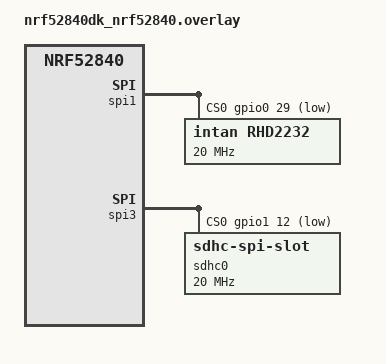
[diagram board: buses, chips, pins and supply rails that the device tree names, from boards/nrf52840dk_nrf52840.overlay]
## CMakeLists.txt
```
cmake_minimum_required(VERSION 3.20.0)

find_package(Zephyr REQUIRED HINTS $ENV{ZEPHYR_BASE})
project(NONE)

# CMakeLists.txt
include_directories(${CMAKE_SOURCE_DIR}/inc)

# NORDIC SDK APP START
target_sources(app PRIVATE
  src/main.c
  src/neuralbs.c
  src/fakedata_module.c
  src/fifo_buffer.c
  src/sd_card.c
  src/intan.c
  src/ble_module.c
)

# NORDIC SDK APP END
zephyr_library_include_directories(.)
```

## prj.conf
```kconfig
#
# Copyright (c) 2018 Nordic Semiconductor
#
# SPDX-License-Identifier: LicenseRef-Nordic-5-Clause
#

# Logger module
CONFIG_LOG=y

# Bluetooth LE
CONFIG_BT=y
CONFIG_BT_PERIPHERAL=y
CONFIG_BT_GATT_CLIENT=y
CONFIG_BT_DEVICE_NAME="Marmoset Bluetooth Logger"
CONFIG_BT_USER_PHY_UPDATE=y

# Increase stack size for the main thread and System Workqueue
CONFIG_SYSTEM_WORKQUEUE_STACK_SIZE=4096
CONFIG_MAIN_STACK_SIZE=8192

# Enable floating point unit for logging 
CONFIG_FPU=y

# Set the connection parameters
CONFIG_BT_CTLR_SDC_LLPM=y
CONFIG_BT_PERIPHERAL_PREF_MIN_INT=1
CONFIG_BT_PERIPHERAL_PREF_MAX_INT=1
CONFIG_BT_PERIPHERAL_PREF_LATENCY=0
CONFIG_BT_PERIPHERAL_PREF_TIMEOUT=400
CONFIG_BT_GAP_AUTO_UPDATE_CONN_PARAMS=y

CONFIG_BT_USER_DATA_LEN_UPDATE=y
CONFIG_BT_CTLR_DATA_LENGTH_MAX=251
CONFIG_BT_BUF_ACL_RX_SIZE=251
CONFIG_BT_BUF_ACL_TX_SIZE=251
CONFIG_BT_L2CAP_TX_MTU=247

CONFIG_GPIO=y
CONFIG_SPI=y
CONFIG_DISK_ACCESS=y
CONFIG_DISK_DRIVERS=y
CONFIG_DISK_DRIVER_MMC=y
CONFIG_DISK_DRIVER_SDMMC=y
CONFIG_MMC_STACK=y
CONFIG_FAT_FILESYSTEM_ELM=y
CONFIG_FILE_SYSTEM=y
CONFIG_FS_FATFS_EXFAT=y
CONFIG_SD_LOG_LEVEL_OFF=y
CONFIG_FS_FATFS_LFN=y

CONFIG_LOG_MAX_LEVEL=4
CONFIG_DISK_LOG_LEVEL_DBG=n
CONFIG_SDMMC_LOG_LEVEL_DBG=n
CONFIG_SPI_LOG_LEVEL_DBG=n
CONFIG_GPIO_LOG_LEVEL_DBG=n

CONFIG_SPI=y
CONFIG_SPI_NRFX=y
CONFIG_NRFX_SPIM1=y

# #CONFIG_FS_FATFS_LFN_MAX=512
# CONFIG_MPU_STACK_GUARD=y
# CONFIG_THREAD_STACK_INFO=y
# CONFIG_THREAD_MONITOR=y
```

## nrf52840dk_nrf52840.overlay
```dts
&qspi {
	status = "disabled";
};

&pwm0 {
    status = "disabled";
    label = "PWM-button";
};

&spi3 {
    status = "okay";
    cs-gpios = <&gpio0 12 GPIO_ACTIVE_LOW>;

    sdhc0: sdhc@0 {
        compatible = "zephyr,sdhc-spi-slot";
		status = "okay";
        reg = <0>;
        label = "SD_CARD";
        spi-max-frequency = <24000000>;
	};
};
```

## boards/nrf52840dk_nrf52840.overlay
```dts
&qspi {
    status = "disabled";
    label = "QSPI";
};

&pwm0 {
    status = "disabled";
    label = "PWM0";
};

&spi1 {
    status = "okay";
    compatible = "nordic,nrf-spim";
    cs-gpios = <&gpio0 29 GPIO_ACTIVE_LOW>;

    rhd2232: rhd2232@0 {
        compatible = "intan,rhd2232";
        reg = <0>;
        spi-max-frequency = <20000000>;
    };
};

&spi3 {
    status = "okay";
    cs-gpios = <&gpio1 12 GPIO_ACTIVE_LOW>;
    pinctrl-0 = <&spi3_default>;
    pinctrl-1 = <&spi3_sleep>;
    pinctrl-names = "default", "sleep";

    sdhc0: sdhc@0 {
        compatible = "zephyr,sdhc-spi-slot";
        reg = <0>;
        status = "okay";
        // power-delay-ms = <5>;
        mmc {
            compatible = "zephyr,sdmmc-disk";
            status = "okay";
        };
        spi-max-frequency = <20000000>;
    };
};
```

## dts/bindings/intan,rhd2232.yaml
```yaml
description: Intan RHD2232 device binding

compatible: "intan,rhd2232"

include: [sensor-device.yaml, spi-device.yaml]
```

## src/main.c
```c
// Marmoset FMW V0
// main.c

#include <zephyr/kernel.h>
#include <zephyr/logging/log.h>
#include <zephyr/bluetooth/bluetooth.h>
#include <zephyr/bluetooth/gap.h>
#include <zephyr/bluetooth/gatt.h>
#include <zephyr/bluetooth/uuid.h>
#include <zephyr/bluetooth/addr.h>
#include <zephyr/bluetooth/conn.h>
#include <zephyr/devicetree.h>
#include <zephyr/sys/reboot.h>

#include "../inc/neuralbs.h"
#include "../inc/device_status.h"
#include "../inc/neural_data.h"
#include "../inc/fifo_buffer.h"
#include "../inc/fakedata_module.h"
#include "../inc/sd_card.h"
#include "../inc/intan.h"

LOG_MODULE_REGISTER(Marmoset_FMW, LOG_LEVEL_INF);

#define SD_CARD_THREAD_PRIORITY 3
#define FAKEDATA_THREAD_PRIORITY 0
#define INTAN_THREAD_PRIORITY 0

fifo_buffer_t fifo_buffer;

// Define and initialize the device status with default values
DeviceStatus device_status = {
	.battery_level = 100,
	.temperature = 25,
	.recording_status = true,
	.configuration = "v0.0.1"};

int main(void)
{
	int err;

	// Wait for 100ms to allow the system to stabilize
	k_sleep(K_MSEC(100));
	LOG_INF("Marmoset FMW V0 \n");

	// Initialize Bluetooth ============================================================
	err = ble_init();
	if (err)
	{
		LOG_ERR("Bluetooth init failed (err %d)\n", err);
		sys_reboot(SYS_REBOOT_COLD);
		return -1;
	}
	LOG_INF("Bluetooth initialized");
	k_sleep(K_MSEC(100));

	// Wait for connection
	LOG_INF("Waiting for Bluetooth connection...");
	err = ble_wait_for_connection(K_SECONDS(30)); // Wait for up to 30 seconds
	if (err)
	{
		LOG_ERR("Failed to establish Bluetooth connection within timeout, rebooting...");
		sys_reboot(SYS_REBOOT_COLD);
		return -1;
	}
	LOG_INF("Bluetooth connection established");
	k_sleep(K_MSEC(100));

	// Initialize SD card ============================================================ (commented out for first in-vivo, NO SD YET)
	// LOG_INF("Initializing SD card...");
	// err = sd_card_init();
	// if (err)
	// {
	// 	LOG_ERR("SD card initialization failed (err %d)", err);
	// 	sys_reboot(SYS_REBOOT_COLD);
	// 	return -1;
	// }
	// LOG_INF("SD card initialized");
	// k_sleep(K_MSEC(100));

	// Initialize FIFO buffer ============================================================
	LOG_INF("Initializing FIFO buffer...");
	err = init_fifo_buffer(&fifo_buffer);
	if (err)
	{
		LOG_ERR("FIFO buffer initialization failed (err %d)", err);
		sys_reboot(SYS_REBOOT_COLD);
		return -1;
	}
	LOG_INF("FIFO buffer initialized successfully");
	k_sleep(K_MSEC(100));

	// Initialize Intan ============================================================
	err = intan_init(&fifo_buffer);
	if (err)
	{
		LOG_ERR("Intan initialization failed (err %d)", err);
		sys_reboot(SYS_REBOOT_COLD);
		return -1;
	}
	LOG_INF("Intan initialized successfully");
	k_sleep(K_MSEC(100));

	LOG_INF("=======!!! All systems initialized !!!======= \n");
	k_sleep(K_MSEC(100));

	// Create threads dynamically ============================================================

	// (BLE module starts BLE threads)

	k_thread_create(&sd_card_thread_data, sd_card_stack,
					SD_CARD_THREAD_STACK_SIZE,
					sd_card_writer_thread, &fifo_buffer, NULL, NULL,
					SD_CARD_THREAD_PRIORITY, 0, K_MSEC(2000));
	LOG_INF("SD card writer thread created");

	// k_thread_create(&fakedata_thread_data, fakedata_stack,
	// 				FAKEDATA_THREAD_STACK_SIZE,
	// 				fakedata_thread, &fifo_buffer, NULL, NULL,
	// 				FAKEDATA_THREAD_PRIORITY, 0, K_MSEC(10000));
	// LOG_INF("Fakedata thread created");

	k_thread_create(&intan_thread_data, intan_stack,
					INTAN_THREAD_STACK_SIZE,
					intan_thread, &fifo_buffer, NULL, NULL,
					INTAN_THREAD_PRIORITY, 0, K_MSEC(2500));
	LOG_INF("Intan thread created");

	LOG_INF("=======!!! All threads created successfully !!!======= \n");

	return 0;
}
```

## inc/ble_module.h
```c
// Marmoset FMW V0
// ble_module.h

#ifndef BLE_MODULE_H_
#define BLE_MODULE_H_

#include <zephyr/kernel.h>
#include "../inc/device_status.h"
#include "../inc/fifo_buffer.h"

// Define thread stacks
#define NEURAL_DATA_NOTIFY_STACK_SIZE 8192
#define SYSTEM_STATUS_NOTIFY_STACK_SIZE 8192

/* BLE Payload and sample limits */
#define BLE_PAYLOAD_MAX 244
#define MAX_NEURAL_SAMPLES_PER_BLE 6

/* BLE thread priorities and intervals */
#define BLE_STATUS_NOTIFY_PRIORITY 8
#define BLE_NEURAL_DATA_NOTIFY_PRIORITY 4

#define SYSTEM_STATUS_NOTIFY_INTERVAL 1 // seconds
#define NEURAL_DATA_NOTIFY_INTERVAL 1   // milliseconds

/* Device name definitions (using Zephyr's CONFIG_BT_DEVICE_NAME) */
#define DEVICE_NAME CONFIG_BT_DEVICE_NAME
#define DEVICE_NAME_LEN (sizeof(DEVICE_NAME) - 1)

/**
 * @brief Initializes the BLE stack and starts advertising.
 *
 * @return 0 on success or a negative error code.
 */
int ble_init(void);

/**
 * @brief Wait for a BLE connection to be established.
 *
 * @param timeout Timeout for waiting.
 * @return 0 on success or a negative error code.
 */
int ble_wait_for_connection(k_timeout_t timeout);

/**
 * @brief Get the current active BLE connection.
 *
 * @return Pointer to the current BLE connection.
 */
struct bt_conn *ble_get_current_connection(void);

/**
 * @brief Restart BLE advertising (used on reconnect).
 */
void reconnect_ble(void);

/**
 * @brief Start BLE notification threads.
 *
 * @param fifo Pointer to the FIFO buffer for neural data.
 * @param status Pointer to the device status structure.
 */
void ble_start_threads(fifo_buffer_t *fifo, DeviceStatus *status);

/**
 * @brief Pause BLE neural data emission.
 */
void ble_pause_neuraldata_emission(void);

/**
 * @brief Resume BLE neural data emission.
 */
void ble_resume_neuraldata_emission(void);

#endif /* BLE_MODULE_H_ */
```

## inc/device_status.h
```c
// Marmoset FMW V0
// device_status.h

#ifndef DEVICE_STATUS_H
#define DEVICE_STATUS_H

#include <stdint.h>
#define CONFIG_VERSION_LENGTH 8

typedef struct
{
    uint8_t battery_level;
    int8_t temperature;
    bool recording_status;
    char configuration[CONFIG_VERSION_LENGTH + 1];
} DeviceStatus;

// Declare the global variable
extern DeviceStatus device_status;

#endif // DEVICE_STATUS_H
```

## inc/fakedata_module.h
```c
// Marmoset FMW V0
// fakedata_module.h

#ifndef FAKEDATA_MODULE_H
#define FAKEDATA_MODULE_H

#include <stdint.h>

#define FAKEDATA_THREAD_STACK_SIZE 8192

extern struct k_thread fakedata_thread_data;
extern k_thread_stack_t fakedata_stack[];

void fakedata_thread(void *arg1, void *arg2, void *arg3);

#endif // FAKEDATA_MODULE_H
```

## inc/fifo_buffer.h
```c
// Marmoset FMW V0
// fifo_buffer.h

#ifndef FIFO_BUFFER_H
#define FIFO_BUFFER_H

#include <stdint.h>
#include <stddef.h>
#include <zephyr/kernel.h>
#include "../inc/neural_data.h"

/* FIFO Buffer size definitions */
#define FIFO_BUFFER_SIZE 300
#define MAX_FIFO_DATA_SIZE 244

/* Priority definitions */
#define FIFO_PRIORITY_BLE 0
#define FIFO_PRIORITY_SD 1

typedef struct
{
    NeuralData buffer[FIFO_BUFFER_SIZE];
    size_t write_index;     // Next position to write new data.
    size_t read_index_ble;  // Read index for BLE consumer.
    size_t read_index_sd;   // Read index for SD consumer.
    size_t ble_buffer_size; // Current number of unread elements for BLE.
    size_t sd_buffer_size;  // Current number of unread elements for SD.
    uint8_t priority;       // Overflow priority: FIFO_PRIORITY_BLE or FIFO_PRIORITY_SD.
    struct k_mutex mutex;
    struct k_sem ble_data_available; // Semaphore to signal BLE data availability.
    struct k_sem sd_data_available;  // Semaphore to signal SD data availability.
} fifo_buffer_t;

/* Function prototypes */
int init_fifo_buffer(fifo_buffer_t *fifo_buffer);
size_t read_from_fifo_buffer_ble(fifo_buffer_t *fifo_buffer, NeuralData *data, size_t max_size);
size_t read_from_fifo_buffer_sd(fifo_buffer_t *fifo_buffer, NeuralData *data, size_t max_size);
size_t write_to_fifo_buffer(fifo_buffer_t *fifo_buffer, const NeuralData *data, size_t size);
int get_fifo_fill_percentage(fifo_buffer_t *fifo_buffer);

#endif /* FIFO_BUFFER_H */
```

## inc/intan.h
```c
// Marmoset FMW V0
// intan.h

#ifndef INTAN_H
#define INTAN_H

#include <stdint.h>
#include <zephyr/kernel.h>
#include "../inc/neural_data.h"
#include "../inc/fifo_buffer.h"

#define INTAN_THREAD_STACK_SIZE 8192

extern struct k_thread intan_thread_data;
extern k_thread_stack_t intan_stack[];

int intan_init(fifo_buffer_t *fifo_buffer);
void intan_thread(void *arg1, void *arg2, void *arg3);

#endif // INTAN_H
```

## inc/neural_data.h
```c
// Marmoset FMW V0
// neural_data.h

#ifndef NEURAL_DATA_H
#define NEURAL_DATA_H

#include <stdint.h>
#include <zephyr/kernel.h>

#define MAX_CHANNELS 16

// Structure to hold ONE SAMPLE of neural data (totals 288 bits = 36 bytes)
typedef struct
{
    uint16_t channel_data[MAX_CHANNELS];
    uint32_t timestamp;
} NeuralData;

#endif // NEURAL_DATA_H
```

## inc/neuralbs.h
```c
// Marmoset FMW V0
// neuralbs.h

#ifndef BT_NBS_H_
#define BT_NBS_H_

#ifdef __cplusplus
extern "C"
{
#endif

#include <zephyr/types.h>
#include "device_status.h"
#include "neural_data.h"

/** @brief NBS Service UUID. */
#define BT_UUID_NBS_VAL BT_UUID_128_ENCODE(0xac9a900b, 0xd5c2, 0x4eea, 0xa18b, 0xc30efc00d25e)

/** @brief Neural Data Characteristic UUID. */
#define BT_UUID_NBS_NEURAL_DATA_VAL \
    BT_UUID_128_ENCODE(0xbcd5243f, 0x0607, 0x4899, 0xafda, 0x999999999999)

/** @brief Device Status Characteristic UUID. */
#define BT_UUID_NBS_DEVICE_STATUS_VAL BT_UUID_128_ENCODE(0xd3171a00, 0x57e9, 0x476d, 0xa6db, 0x111111111111)

#define BT_UUID_NBS BT_UUID_DECLARE_128(BT_UUID_NBS_VAL)
#define BT_UUID_NBS_NEURAL_DATA BT_UUID_DECLARE_128(BT_UUID_NBS_NEURAL_DATA_VAL)
#define BT_UUID_NBS_DEVICE_STATUS BT_UUID_DECLARE_128(BT_UUID_NBS_DEVICE_STATUS_VAL)

    int nbs_send_neural_data_notify(NeuralData *latest_neural_data, size_t count);
    int nbs_send_system_status_notify(DeviceStatus *device_status);

#ifdef __cplusplus
}
#endif

#endif /* BT_NBS_H_ */
```

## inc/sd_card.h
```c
// Marmoset FMW V0
// sd_card.h

#ifndef _SD_CARD_H_
#define _SD_CARD_H_

#include <stddef.h>
#include <zephyr/fs/fs.h>

#define SD_CARD_THREAD_STACK_SIZE 32768
extern struct k_thread sd_card_thread_data;
extern k_thread_stack_t sd_card_stack[];

/**
 * @brief	Print out the contents under SD card root path and write the content to buffer.
 *
 * @param[in]		path		Path of the folder which is going to be listed.
 *					If assigned path is null, then listing the contents under
 *					root. If assigned path doesn't exist, an error will be
 *					returned.
 * @param[out]		buf		Buffer where data is written. If set to NULL, it will be
 *					ignored.
 * @param[in, out]	buf_size	Buffer size.
 *
 * @retval	0 on success.
 * @retval	-EPERM SD card operation is ongoing somewhere else.
 * @retval	-ENODEV SD init failed. SD card likely not inserted.
 * @retval	-EINVAL Failed to append to buffer.
 * @retval	-FR_INVALID_NAME Path is too long.
 * @retval	Otherwise, error from underlying drivers.
 */
int sd_card_list_files(char const *const path, char *buf, size_t *buf_size);

/**
 * @brief	Write data from buffer into the file.
 *
 * @note	If the file already exists, data will be appended to the end of the file.
 *
 * @param[in]		filename	Name of the target file for writing, the default
 *					location is the root directoy of SD card, accept
                    absolute path under root of SD card.
 * @param[in]		data		which is going to be written into the file.
 * @param[in, out]	size		Pointer to the number of bytes which is going to be written.
 *					The actual written size will be returned.
 *
 * @retval	0 on success.
 * @retval	-EPERM SD card operation is ongoing somewhere else.
 * @retval	-ENODEV SD init failed. SD card likely not inserted.
 * @retval	Otherwise, error from underlying drivers.
 */
int sd_card_open_write_close(char const *const filename, char const *const data, size_t *size);

/**
 * @brief	Read data from file into the buffer.
 *
 * @param[in]		filename	Name of the target file for reading, the default location is
 *					the root directoy of SD card, accept absolute path under
 *					root of SD card.
 * @param[out]		buf		Pointer to the buffer to write the read data into.
 * @param[in, out]	size		Pointer to the number of bytes which wait to be read from
 *					the file. The actual read size will be returned. If the
 *					actual read size is 0, there will be a warning message which
                    indicates that the file is empty.
 *
 * @retval	0 on success.
 * @retval	-EPERM SD card operation is ongoing somewhere else.
 * @retval	-ENODEV SD init failed. SD card likely not inserted.
 * @retval	Otherwise, error from underlying drivers.
 */
int sd_card_open_read_close(char const *const filename, char *const buf, size_t *size);

/**
 * @brief	Open file on SD card.
 *
 * @param[in]		filename		Name of file to open. Default
 *						location is the root directoy of SD card.
 *						Absolute path under root of SD card is accepted.
 * @param[in, out]	f_seg_read_entry	Pointer to a file object.
 *						The pointer gets initialized and ready for use.
 *
 *
 * @retval	0 on success.
 * @retval	-EPERM SD card operation is ongoing somewhere else.
 * @retval	-ENODEV SD init failed. SD likely not inserted.
 * @retval	Otherwise, error from underlying drivers.
 */
int sd_card_open(char const *const filename, struct fs_file_t *f_seg_read_entry);

/**
 * @brief	Read segment on the open file on the SD card.
 *
 * @param[out]		buf			Pointer to the buffer to write the read data into.
 * @param[in, out]	size			Number of bytes to be read from file.
 *						The actual read size will be returned.
 *						If the actual read size is 0, there will be a
 *						warning message which indicates that the file is
 *						empty.
 * @param[in, out]	f_seg_read_entry	Pointer to a file object. After call to this
 *						function, the pointer gets updated and can be used
 *						as entry in next function call.
 *
 * @retval	0 on success.
 * @retval	-EPERM SD card operation is not ongoing.
 * @retval	-ENODEV SD init failed. SD likely not inserted.
 * @retval	Otherwise, error from underlying drivers.
 */
int sd_card_read(char *buf, size_t *size, struct fs_file_t *f_seg_read_entry);

/**
 * @brief	Close the file opened by the sd_card_segment_read_open function.
 *
 * @param[in, out]	f_seg_read_entry	Pointer to a file object. After call to this
 *						function, the pointer is reset and can be used for
 *						another file.
 *
 *
 * @retval	0 on success.
 * @retval	-EPERM SD card operation is not ongoing.
 * @retval	-EBUSY Segment read operation has not started.
 * @retval	Otherwise, error from underlying drivers.
 */
int sd_card_close(struct fs_file_t *f_seg_read_entry);

/**
 * @brief	Initialize the SD card interface and print out SD card details.
 *
 * @retval	0 on success.
 * @retval	-ENODEV SD init failed. SD card likely not inserted.
 * @retval	Otherwise, error from underlying drivers.
 */
int sd_card_init(void);

void sd_card_writer_thread(void *arg1, void *arg2, void *arg3);

#endif /* _SD_CARD_H_ */
```

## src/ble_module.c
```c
// Marmoset FMW V0
// ble_module.c

#include <zephyr/kernel.h>
#include <zephyr/logging/log.h>
#include <zephyr/bluetooth/bluetooth.h>
#include <zephyr/bluetooth/gap.h>
#include <zephyr/bluetooth/gatt.h>
#include <zephyr/bluetooth/uuid.h>
#include <zephyr/bluetooth/conn.h>
#include <zephyr/sys/reboot.h>

#include "../inc/ble_module.h"
#include "../inc/device_status.h"
#include "../inc/fifo_buffer.h"
#include "../inc/neural_data.h"
#include "../inc/neuralbs.h"

// Log module for BLE
LOG_MODULE_REGISTER(BLE_MODULE, LOG_LEVEL_INF);

extern fifo_buffer_t fifo_buffer;
extern DeviceStatus device_status;

// Advertisement parameters and data
static const struct bt_le_adv_param *adv_param = BT_LE_ADV_PARAM(
    (BT_LE_ADV_OPT_CONNECTABLE | BT_LE_ADV_OPT_USE_IDENTITY),
    40,  /* Minimum advertising interval (40 * 0.625ms = 25ms) */
    801, /* Maximum advertising interval (801 * 0.625ms ≈ 500ms) */
    NULL);

static const struct bt_data ad[] = {
    BT_DATA_BYTES(BT_DATA_FLAGS, (BT_LE_AD_GENERAL | BT_LE_AD_NO_BREDR)),
    BT_DATA(BT_DATA_NAME_COMPLETE, DEVICE_NAME, DEVICE_NAME_LEN),
};

static const struct bt_data sd[] = {
    BT_DATA_BYTES(BT_DATA_UUID128_ALL, BT_UUID_NBS_VAL),
};

// Global BLE connection pointer and semaphore for connection synchronization
static struct bt_conn *my_conn = NULL;
static K_SEM_DEFINE(ble_conn_sem, 0, 1);

// GATT exchange parameters
static struct bt_gatt_exchange_params exchange_params;
static void exchange_func(struct bt_conn *conn, uint8_t att_err, struct bt_gatt_exchange_params *params);

K_THREAD_STACK_DEFINE(neural_data_notify_stack, NEURAL_DATA_NOTIFY_STACK_SIZE);
K_THREAD_STACK_DEFINE(status_notify_stack, SYSTEM_STATUS_NOTIFY_STACK_SIZE);

static struct k_thread neural_data_notify_thread_data;
static struct k_thread status_notify_thread_data;

// Control flag for neural data notifications
static bool neural_data_emission_enabled = true;
static bool ble_threads_created = false;

// ================================================================================================================================
// ------------------- BLE PHY, Data Length, and MTU Update Functions -------------------
// ================================================================================================================================

static void update_phy(struct bt_conn *conn)
{
    int err;
    const struct bt_conn_le_phy_param preferred_phy = {
        .options = BT_CONN_LE_PHY_OPT_NONE,
        .pref_rx_phy = BT_GAP_LE_PHY_2M,
        .pref_tx_phy = BT_GAP_LE_PHY_2M,
    };
    err = bt_conn_le_phy_update(conn, &preferred_phy);
    if (err)
    {
        LOG_ERR("bt_conn_le_phy_update() returned %d", err);
    }
}

static void update_data_length(struct bt_conn *conn)
{
    int err;
    struct bt_conn_le_data_len_param my_data_len = {
        .tx_max_len = BT_GAP_DATA_LEN_MAX,
        .tx_max_time = BT_GAP_DATA_TIME_MAX,
    };
    err = bt_conn_le_data_len_update(conn, &my_data_len);
    if (err)
    {
        LOG_ERR("data_len_update failed (err %d)", err);
    }
}

static void update_mtu(struct bt_conn *conn)
{
    int err;
    exchange_params.func = exchange_func;

    err = bt_gatt_exchange_mtu(conn, &exchange_params);
    if (err)
    {
        LOG_ERR("bt_gatt_exchange_mtu failed (err %d)", err);
    }
}

// ================================================================================================================================
// ------------------- BLE Connection Callbacks -------------------
// ================================================================================================================================

static void on_connected(struct bt_conn *conn, uint8_t err)
{
    if (err)
    {
        printk("Connection failed (err %u)\n", err);
        return;
    }

    my_conn = bt_conn_ref(conn);

    // Retrieve and log connection parameters
    struct bt_conn_info info;
    err = bt_conn_get_info(conn, &info);
    if (err)
    {
        LOG_ERR("bt_conn_get_info() returned %d", err);
        return;
    }

    double connection_interval = info.le.interval * 1.25; // in ms
    uint16_t supervision_timeout = info.le.timeout * 10;  // in ms
    LOG_INF("Connection parameters: interval %.2f ms, latency %d intervals, timeout %d ms",
            connection_interval, info.le.latency, supervision_timeout);

    update_phy(my_conn);
    update_data_length(my_conn);
    update_mtu(my_conn);

    LOG_INF("Connected");

    // Signal that a connection has been established
    k_sem_give(&ble_conn_sem);

    // Start or resume the BLE module threads
    if (!ble_threads_created)
    {
        ble_start_threads(&fifo_buffer, &device_status);
        ble_threads_created = true;
    }
    else
    {
        // Resume the threads if they were suspended
        k_thread_resume(&neural_data_notify_thread_data);
        k_thread_resume(&status_notify_thread_data);
        neural_data_emission_enabled = true;
        LOG_INF("BLE threads resumed");
    }
}

static void on_disconnected(struct bt_conn *conn, uint8_t reason)
{
    LOG_INF("Disconnected (reason %u)", reason);
    if (my_conn == conn)
    {
        bt_conn_unref(my_conn);
        my_conn = NULL;
    }

    // Suspend the BLE module threads
    if (ble_threads_created)
    {
        k_thread_suspend(&neural_data_notify_thread_data);
        k_thread_suspend(&status_notify_thread_data);
        neural_data_emission_enabled = false;
        LOG_INF("BLE threads suspended");
    }
    else
    {
        LOG_ERR("BLE threads not created, cannot suspend, rebooting...");
        sys_reboot(SYS_REBOOT_COLD);
    }

    // Reconnect to the BLE module
    reconnect_ble();
}

static void on_le_param_updated(struct bt_conn *conn, uint16_t interval,
                                uint16_t latency, uint16_t timeout)
{
    double connection_interval = interval * 1.25; // in ms
    uint16_t supervision_timeout = timeout * 10;  // in ms
    LOG_INF("Connection parameters updated: interval %.2f ms, latency %d intervals, timeout %d ms",
            connection_interval, latency, supervision_timeout);
}

static void on_le_phy_updated(struct bt_conn *conn, struct bt_conn_le_phy_info *param)
{
    if (param->tx_phy == BT_CONN_LE_TX_POWER_PHY_1M)
    {
        LOG_INF("PHY updated. New PHY: 1M");
    }
    else if (param->tx_phy == BT_CONN_LE_TX_POWER_PHY_2M)
    {
        LOG_INF("PHY updated. New PHY: 2M");
    }
    else if (param->tx_phy == BT_CONN_LE_TX_POWER_PHY_CODED_S8)
    {
        LOG_INF("PHY updated. New PHY: Long Range");
    }
}

static void on_le_data_len_updated(struct bt_conn *conn,
                                   struct bt_conn_le_data_len_info *info)
{
    uint16_t tx_len = info->tx_max_len;
    uint16_t tx_time = info->tx_max_time;
    uint16_t rx_len = info->rx_max_len;
    uint16_t rx_time = info->rx_max_time;
    LOG_INF("Data length updated. Length %d/%d bytes, time %d/%d us",
            tx_len, rx_len, tx_time, rx_time);
}

static struct bt_conn_cb connection_callbacks = {
    .connected = on_connected,
    .disconnected = on_disconnected,
    .le_param_updated = on_le_param_updated,
    .le_phy_updated = on_le_phy_updated,
    .le_data_len_updated = on_le_data_len_updated,
};

// ================================================================================================================================
// ------------------- MTU Exchange Callback -------------------
// ================================================================================================================================

static void exchange_func(struct bt_conn *conn, uint8_t att_err,
                          struct bt_gatt_exchange_params *params)
{
    LOG_INF("MTU exchange %s", att_err == 0 ? "successful" : "failed");
    if (att_err == 0)
    {
        uint16_t payload_mtu = bt_gatt_get_mtu(conn) - 3; // subtract header bytes
        LOG_INF("New MTU: %d bytes", payload_mtu);
    }
}

// ================================================================================================================================
// ------------------- BLE Notification Threads -------------------
// ================================================================================================================================

/* Status notification thread:
 * The device status pointer is passed as the first argument (p1).
 */
static void status_notify_thread(void *device_status_ptr, void *p2, void *p3)
{
    DeviceStatus *status = (DeviceStatus *)device_status_ptr;
    while (1)
    {
        if (status)
        {
            nbs_send_system_status_notify(status);
        }
        else
        {
            LOG_ERR("Device status pointer is NULL");
        }
        k_sleep(K_SECONDS(SYSTEM_STATUS_NOTIFY_INTERVAL));
    }
}

/* Neural data notification thread:
 * The FIFO buffer pointer is passed as the first argument (p1).
 */
static void neural_data_notify_thread(void *fifo_ptr, void *p2, void *p3)
{
    fifo_buffer_t *fifo = (fifo_buffer_t *)fifo_ptr;
    NeuralData samples[MAX_NEURAL_SAMPLES_PER_BLE];
    size_t count = 0;

    if (!fifo)
    {
        LOG_ERR("FIFO buffer pointer is NULL. Exiting neural data notify thread.");
        return;
    }

    while (1)
    {
        /* Check if emission is enabled */
        if (!neural_data_emission_enabled)
        {
            k_sleep(K_MSEC(NEURAL_DATA_NOTIFY_INTERVAL));
            continue;
        }

        // Wait until BLE data is available in the FIFO
        int ret = k_sem_take(&fifo->ble_data_available, K_NO_WAIT);
        if (ret != 0)
        {
            k_sleep(K_MSEC(NEURAL_DATA_NOTIFY_INTERVAL));
            continue;
        }

        /* Read up to MAX_NEURAL_SAMPLES_PER_BLE samples from the FIFO */
        count = read_from_fifo_buffer_ble(fifo, samples, MAX_NEURAL_SAMPLES_PER_BLE);
        nbs_send_neural_data_notify(samples, count);
        k_sleep(K_MSEC(NEURAL_DATA_NOTIFY_INTERVAL));
    }
}

// ================================================================================================================================
// ------------------- Public API Functions -------------------
// ================================================================================================================================

int ble_init(void)
{
    int err;

    /* Initialize the Bluetooth stack */
    err = bt_enable(NULL);
    if (err)
    {
        LOG_ERR("Bluetooth init failed (err %d)", err);
        return err;
    }
    LOG_INF("Bluetooth initialized");

    /* Register BLE connection callbacks */
    bt_conn_cb_register(&connection_callbacks);

    /* Start advertising */
    err = bt_le_adv_start(adv_param, ad, ARRAY_SIZE(ad), sd, ARRAY_SIZE(sd));
    if (err)
    {
        LOG_ERR("Advertising failed to start (err %d)", err);
        return err;
    }
    LOG_INF("Advertising successfully started");
    return 0;
}

int ble_wait_for_connection(k_timeout_t timeout)
{
    /* Wait for the on_connected callback to signal a connection */
    int err = k_sem_take(&ble_conn_sem, timeout);
    if (err)
    {
        LOG_ERR("Failed to establish BLE connection within timeout");
        return err;
    }
    return 0;
}

struct bt_conn *ble_get_current_connection(void)
{
    return my_conn;
}

void reconnect_ble(void)
{
    int err;
    // Stop advertising first, if fails, reboot
    err = bt_le_adv_stop();
    if (err)
    {
        LOG_ERR("Failed to stop advertising (err %d)", err);
        sys_reboot(SYS_REBOOT_COLD);
    }
    // Restart advertising, if fails, reboot
    err = bt_le_adv_start(adv_param, ad, ARRAY_SIZE(ad), sd, ARRAY_SIZE(sd));
    if (err)
    {
        LOG_ERR("Failed to restart advertising (err %d), rebooting...", err);
        sys_reboot(SYS_REBOOT_COLD);
    }
    // Wait for connection, if fails, reboot
    err = ble_wait_for_connection(K_SECONDS(60));
    if (err)
    {
        LOG_ERR("Failed to reconnect to BLE module, rebooting...");
        sys_reboot(SYS_REBOOT_COLD);
    }
    else
    {
        LOG_INF("BLE module reconnected!");
    }
}

/**
 * @brief Starts the BLE notification threads.
 *
 * @param fifo Pointer to the FIFO buffer for neural data.
 * @param status Pointer to the device status structure.
 */
void ble_start_threads(fifo_buffer_t *fifo, DeviceStatus *status)
{
    /* Create the neural data notification thread, passing the FIFO pointer */
    k_thread_create(&neural_data_notify_thread_data, neural_data_notify_stack,
                    K_THREAD_STACK_SIZEOF(neural_data_notify_stack),
                    neural_data_notify_thread, fifo, NULL, NULL,
                    BLE_NEURAL_DATA_NOTIFY_PRIORITY, 0, K_MSEC(500));
    LOG_INF("Neural data notify thread created");

    /* Create the system status notification thread, passing the device status pointer */
    k_thread_create(&status_notify_thread_data, status_notify_stack,
                    K_THREAD_STACK_SIZEOF(status_notify_stack),
                    status_notify_thread, status, NULL, NULL,
                    BLE_STATUS_NOTIFY_PRIORITY, 0, K_MSEC(1000));
    LOG_INF("Status notify thread created");
}
```

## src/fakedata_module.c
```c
// Marmoset FMW V0
// fakedata_module.c

#include <stddef.h>
#include <string.h>
#include <stdio.h>
#include <zephyr/kernel.h>
#include <zephyr/types.h>
#include <zephyr/logging/log.h>
#include "../inc/fakedata_module.h"
#include "../inc/neural_data.h"
#include "../inc/fifo_buffer.h"

#define SAMPLE_RATE_HZ 2000
// 100
// 250
// 500
// 750
// 1000
// 1200
// 1500
// 2000
// 2500

// Registering the module with the logging system
LOG_MODULE_REGISTER(fakedata, LOG_LEVEL_INF);

K_THREAD_STACK_DEFINE(fakedata_stack, FAKEDATA_THREAD_STACK_SIZE);
struct k_thread fakedata_thread_data;

void fakedata_thread(void *arg1, void *arg2, void *arg3)
{
    fifo_buffer_t *fifo_buffer = (fifo_buffer_t *)arg1;
    NeuralData data;
    uint16_t counter = 0;
    int64_t start_time = k_uptime_get();
    static int log_counter = 0;

    while (1)
    {
        if (get_fifo_fill_percentage(fifo_buffer) > 90)
        {
            if (log_counter++ % 50 == 0)
            {
                LOG_WRN("FIFO buffer nearly full, skipping data generation");
            }
            k_sleep(K_MSEC(50));
            continue;
        }

        data.timestamp = (uint32_t)(k_uptime_get() - start_time);

        // Generate data for all channels
        for (int i = 0; i < MAX_CHANNELS; i++)
        {
            data.channel_data[i] = counter;
        }

        // Write the NeuralData struct to the FIFO buffer
        size_t structs_written = write_to_fifo_buffer(fifo_buffer, &data, 1);
        if (structs_written != 1)
        {
            LOG_ERR("Failed to write neural data to FIFO buffer.");
        }

        if (log_counter++ % 100 == 0)
        {
            LOG_INF("Faked data written to fifo buffer: timestamp %d, value %d",
                    data.timestamp, data.channel_data[0]);
        }

        counter = (counter + 1) % 60000; // Increment counter from 0 to 60000

        k_sleep(K_USEC(1000000 / SAMPLE_RATE_HZ));
    }
}
```

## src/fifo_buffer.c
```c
// Marmoset FMW V0
// fifo_buffer.c

#include <errno.h>
#include <stddef.h>
#include <string.h>
#include <stdio.h>
#include <zephyr/kernel.h>
#include <zephyr/logging/log.h>
#include "../inc/fifo_buffer.h"
#include "../inc/neural_data.h"

LOG_MODULE_REGISTER(fifo_buffer, LOG_LEVEL_INF);
// Only log every 100th operation or when fill percentage changes significantly
static int log_counter = 0;
static float last_fill_percentage = 0;

// Data availability threshold for BLE and SD consumers.
#define BLE_BUFFER_FILL_FLAG_STRUCTS 10
#define SD_BUFFER_FILL_FLAG_STRUCTS 200

/**
 * @brief Initialize the FIFO buffer.
 * Sets write index, both read indices, and resets the buffer sizes.
 * Also sets the priority (here, default is set to BLE has priority).
 */
int init_fifo_buffer(fifo_buffer_t *fifo_buffer)
{
    if (fifo_buffer == NULL)
    {
        return -EINVAL; // Invalid argument
    }

    fifo_buffer->write_index = 0;
    fifo_buffer->read_index_ble = 0;
    fifo_buffer->read_index_sd = 0;
    fifo_buffer->ble_buffer_size = 0;
    fifo_buffer->sd_buffer_size = 0;
    fifo_buffer->priority = FIFO_PRIORITY_BLE; // Set BLE as the priority consumer

    int ret = k_mutex_init(&fifo_buffer->mutex);
    if (ret != 0)
    {
        return ret; // Return the error code from mutex initialization
    }

    // Initialize semaphore for BLE data availability
    ret = k_sem_init(&fifo_buffer->ble_data_available, 0, 1);
    if (ret != 0)
    {
        return ret;
    }

    // Initialize semaphore for SD data availability
    ret = k_sem_init(&fifo_buffer->sd_data_available, 0, 1);
    if (ret != 0)
    {
        return ret;
    }

    return 0; // Success
}

/**
 * @brief Write data to the FIFO buffer.
 *
 * @param fifo_buffer Pointer to the FIFO buffer.
 * @param data Pointer to the data to write.
 * @param size Number of elements to write.
 */
size_t write_to_fifo_buffer(fifo_buffer_t *fifo_buffer, const NeuralData *data, size_t size)
{
    size_t structs_written = 0;
    int ret = k_mutex_lock(&fifo_buffer->mutex, K_FOREVER);
    if (ret != 0)
    {
        LOG_WRN("Failed to acquire mutex, error: %d", ret);
        return 0;
    }

    while (structs_written < size)
    {
        size_t next_write_index = (fifo_buffer->write_index + 1) % FIFO_BUFFER_SIZE;

        // Check for buffer full condition:
        // If next write index equals either consumer's read index, the buffer is "full".
        if (next_write_index == fifo_buffer->read_index_ble ||
            next_write_index == fifo_buffer->read_index_sd)
        {
            // Decide which consumer to advance based on priority.
            // If BLE has priority, discard from SD by advancing the SD read index.
            // Otherwise, advance the BLE read index.
            if (fifo_buffer->priority == FIFO_PRIORITY_BLE)
            {
                fifo_buffer->read_index_sd = (fifo_buffer->read_index_sd + 1) % FIFO_BUFFER_SIZE;
            }
            else
            {
                fifo_buffer->read_index_ble = (fifo_buffer->read_index_ble + 1) % FIFO_BUFFER_SIZE;
            }
            // After discarding, update the buffer sizes
            fifo_buffer->sd_buffer_size = (fifo_buffer->write_index + FIFO_BUFFER_SIZE - fifo_buffer->read_index_sd) % FIFO_BUFFER_SIZE;
            fifo_buffer->ble_buffer_size = (fifo_buffer->write_index + FIFO_BUFFER_SIZE - fifo_buffer->read_index_ble) % FIFO_BUFFER_SIZE;
            // Continue without writing to free up a slot
            continue;
        }

        // Write the sample to the buffer
        fifo_buffer->buffer[fifo_buffer->write_index] = *data;
        fifo_buffer->write_index = next_write_index;
        structs_written++;

        // Update buffer sizes for each consumer
        fifo_buffer->ble_buffer_size = (fifo_buffer->write_index + FIFO_BUFFER_SIZE - fifo_buffer->read_index_ble) % FIFO_BUFFER_SIZE;
        fifo_buffer->sd_buffer_size = (fifo_buffer->write_index + FIFO_BUFFER_SIZE - fifo_buffer->read_index_sd) % FIFO_BUFFER_SIZE;

        data++;
    }

    // Log buffer fill status
    int fill_percentage = (int)(((fifo_buffer->ble_buffer_size > fifo_buffer->sd_buffer_size ? fifo_buffer->ble_buffer_size : fifo_buffer->sd_buffer_size) * 100) / FIFO_BUFFER_SIZE);
    if (log_counter++ % 150 == 0 ||
        (abs(fill_percentage - (int)last_fill_percentage) > 10))
    {
        LOG_INF("FIFO Buffer fill: %d%% (wrote %zu structs)", fill_percentage, structs_written);
        last_fill_percentage = fill_percentage;
    }

    // Signal data availability if threshold is reached.
    // For example, if BLE unread count exceeds a given threshold.
    if (fifo_buffer->ble_buffer_size >= BLE_BUFFER_FILL_FLAG_STRUCTS)
    {
        k_sem_give(&fifo_buffer->ble_data_available);
        LOG_INF("FIFO: BLE buffer reached threshold (%zu structs)", fifo_buffer->ble_buffer_size);
    }
    if (fifo_buffer->sd_buffer_size >= SD_BUFFER_FILL_FLAG_STRUCTS)
    {
        k_sem_give(&fifo_buffer->sd_data_available);
        LOG_INF("FIFO: SD buffer reached threshold (%zu structs)", fifo_buffer->sd_buffer_size);
    }

    k_mutex_unlock(&fifo_buffer->mutex);
    return structs_written;
}

/**
 * @brief Read data for the BLE consumer.
 *
 * Reads up to max_size NeuralData samples from the FIFO using the BLE read index.
 */
size_t read_from_fifo_buffer_ble(fifo_buffer_t *fifo_buffer, NeuralData *data, size_t max_size)
{
    // Initialize the number of structs read to 0.
    size_t structs_read = 0;
    // Lock the mutex to prevent race conditions.
    k_mutex_lock(&fifo_buffer->mutex, K_FOREVER);
    // Read the data from the buffer until the max size is reached or the buffer is empty.
    while (structs_read < max_size && fifo_buffer->read_index_ble != fifo_buffer->write_index)
    {
        *data = fifo_buffer->buffer[fifo_buffer->read_index_ble];
        fifo_buffer->read_index_ble = (fifo_buffer->read_index_ble + 1) % FIFO_BUFFER_SIZE;
        structs_read++;
        data++;
    }
    // Update the buffer size for the BLE consumer.
    fifo_buffer->ble_buffer_size = (fifo_buffer->write_index + FIFO_BUFFER_SIZE - fifo_buffer->read_index_ble) % FIFO_BUFFER_SIZE;
    // Unlock the mutex.
    k_mutex_unlock(&fifo_buffer->mutex);
    // Return the number of structs read.
    return structs_read;
}

/**
 * @brief Read data for the SD consumer.
 *
 * Reads up to max_size NeuralData samples from the FIFO using the SD read index.
 */
size_t read_from_fifo_buffer_sd(fifo_buffer_t *fifo_buffer, NeuralData *data, size_t max_size)
{
    // Initialize the number of structs read to 0.
    size_t structs_read = 0;
    // Lock the mutex to prevent race conditions.
    k_mutex_lock(&fifo_buffer->mutex, K_FOREVER);
    // Read the data from the buffer until the max size is reached or the buffer is empty.
    while (structs_read < max_size && fifo_buffer->read_index_sd != fifo_buffer->write_index)
    {
        *data = fifo_buffer->buffer[fifo_buffer->read_index_sd];
        fifo_buffer->read_index_sd = (fifo_buffer->read_index_sd + 1) % FIFO_BUFFER_SIZE;
        structs_read++;
        data++;
    }
    // Update the buffer size for the SD consumer.
    fifo_buffer->sd_buffer_size = (fifo_buffer->write_index + FIFO_BUFFER_SIZE - fifo_buffer->read_index_sd) % FIFO_BUFFER_SIZE;
    // Unlock the mutex.
    k_mutex_unlock(&fifo_buffer->mutex);
    // Return the number of structs read.
    return structs_read;
}

/**
 * @brief Get the fill percentage of the FIFO.
 *
 * This calculates the fill based on the slower (i.e. least advanced) consumer.
 */
int get_fifo_fill_percentage(fifo_buffer_t *fifo_buffer)
{
    size_t slowest_index = fifo_buffer->read_index_ble <= fifo_buffer->read_index_sd ? fifo_buffer->read_index_ble : fifo_buffer->read_index_sd;
    size_t total_elements = (fifo_buffer->write_index + FIFO_BUFFER_SIZE - slowest_index) % FIFO_BUFFER_SIZE;
    return (total_elements * 100) / FIFO_BUFFER_SIZE;
}
```
